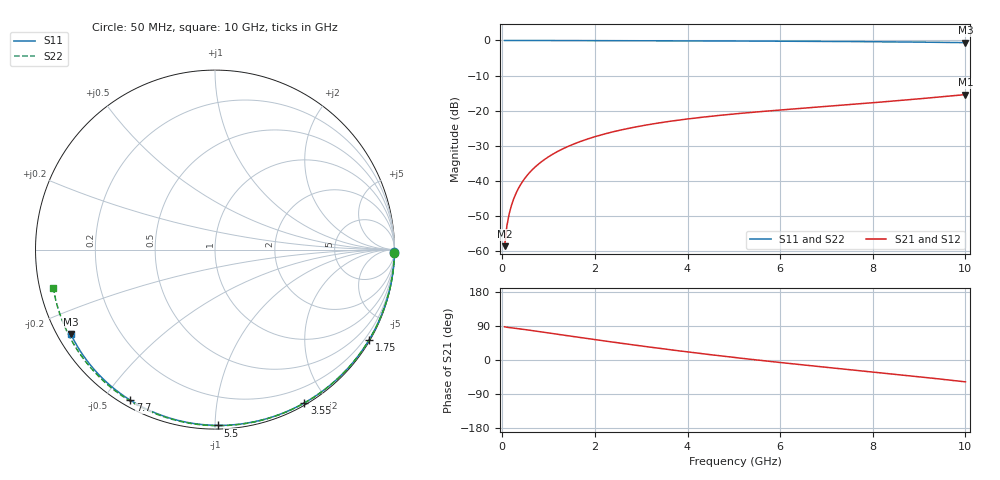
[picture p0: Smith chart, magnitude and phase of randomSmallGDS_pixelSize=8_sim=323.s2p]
! freq	dB(S11)	phase(S11)	dB(S12)	phase(S12)
!  dB(S21)	phase(S21)	dB(S22)	phase(S22)
!S-par simulation data
#  GHz  S  DB  R 50
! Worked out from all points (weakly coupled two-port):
!   200 points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, 50 MHz to 10 GHz, reference 50 ohm
!   highest |S21| = -15.43 dB at 10 GHz (marker M1); lowest = -58.7 dB at 50 MHz (marker M2)
!   lowest |S11| = -0.6 dB at 10 GHz (marker M3), VSWR 27.99, Z = 1.92 - j13.5 ohm
!   |S11| at or under -10 dB: nowhere
!   |S22| runs from -0.7 to 0.0 dB; largest |S21 - S12| = 0
!   S11 on the Smith chart (normalised r, x): 50 MHz: open; 1.75 GHz: 0.04, -3.69; 3.55 GHz: 0.02, -1.74; 5.5 GHz: 0.02, -1.02; 7.7 GHz: 0.03, -0.58; 10 GHz: 0.04, -0.27
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0.05  -0.00 -0.9  -58.66 87.6  -58.66 87.6  -0.00 -1.0
0.1  -0.00 -1.8  -52.81 86.4  -52.81 86.4  -0.00 -1.9
0.15  -0.00 -2.6  -49.38 85.7  -49.38 85.7  -0.00 -2.9
0.2  -0.00 -3.5  -46.94 85.0  -46.94 85.0  -0.00 -3.9
0.25  -0.00 -4.4  -45.04 84.2  -45.04 84.2  -0.00 -4.8
0.35  -0.00 -6.2  -42.15 82.7  -42.15 82.7  -0.01 -6.7
0.5  -0.01 -8.8  -39.08 80.2  -39.08 80.2  -0.01 -9.6
0.7  -0.01 -12.3  -36.20 76.7  -36.20 76.7  -0.02 -13.4
1  -0.02 -17.5  -33.16 71.4  -33.16 71.4  -0.03 -19.1
1.35  -0.03 -23.5  -30.64 65.2  -30.64 65.2  -0.04 -25.7
1.75  -0.04 -30.3  -28.51 58.2  -28.51 58.2  -0.05 -33.1
2.6  -0.07 -44.5  -25.42 43.6  -25.42 43.6  -0.07 -48.6
3.4  -0.09 -57.4  -23.48 30.6  -23.48 30.6  -0.10 -62.6
3.55  -0.10 -59.8  -23.19 28.3  -23.19 28.3  -0.11 -65.2
4.3  -0.13 -71.4  -21.92 16.9  -21.92 16.9  -0.14 -77.9
5.05  -0.16 -82.6  -20.91 6.2  -20.91 6.2  -0.17 -90.1
5.5  -0.18 -89.1  -20.38 0.0  -20.38 0.0  -0.19 -97.2
6.7  -0.25 -105.9  -19.11 -15.5  -19.11 -15.5  -0.27 -115.8
7.7  -0.33 -119.4  -18.08 -27.9  -18.08 -27.9  -0.36 -130.9
8.35  -0.40 -127.9  -17.38 -36.0  -17.38 -36.0  -0.43 -140.7
9.2  -0.50 -139.1  -16.41 -46.9  -16.41 -46.9  -0.54 -153.8
10  -0.62 -149.7  -15.43 -57.7  -15.43 -57.7  -0.67 -166.6
